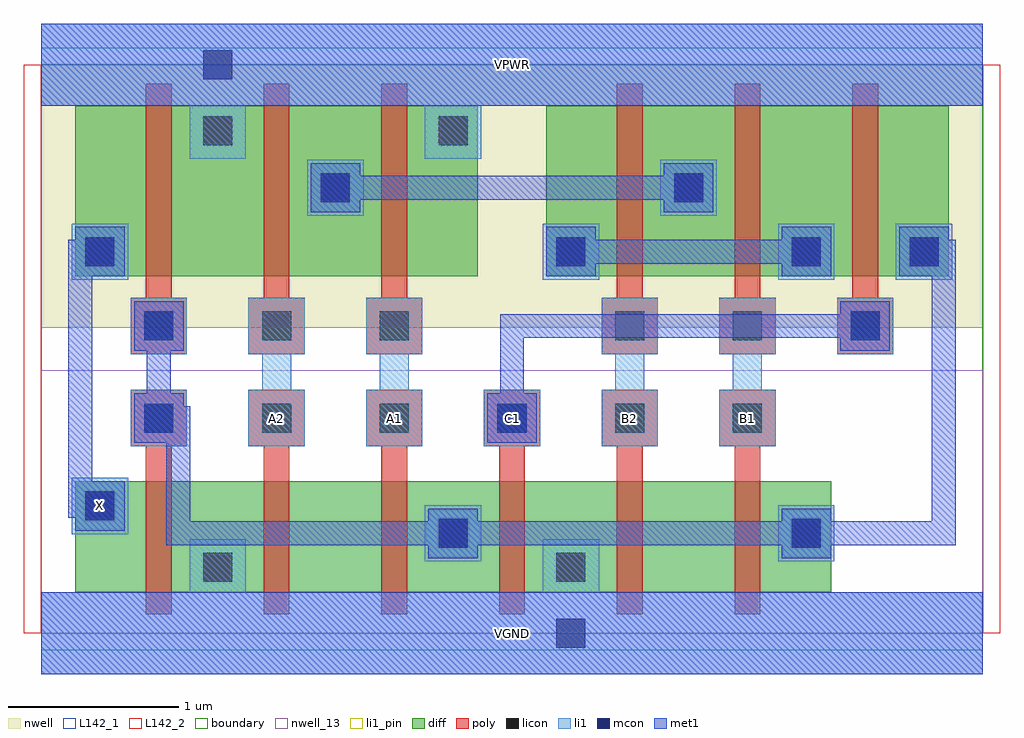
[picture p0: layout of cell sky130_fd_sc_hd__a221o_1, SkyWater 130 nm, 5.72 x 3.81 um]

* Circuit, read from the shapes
.subckt sky130_fd_sc_hd__a221o_1 A1 A2 B1 B2 C1 VGND VPWR X
XM1 VGND n1 X VSUBS sky130_fd_pr__nfet_01v8 w=0.65 l=0.15
XM2 n2 A2 VGND VSUBS sky130_fd_pr__nfet_01v8 w=0.65 l=0.15
XM3 n1 A1 n2 VSUBS sky130_fd_pr__nfet_01v8 w=0.65 l=0.15
XM4 VGND C1 n1 VSUBS sky130_fd_pr__nfet_01v8 w=0.65 l=0.15
XM5 n3 B2 VGND VSUBS sky130_fd_pr__nfet_01v8 w=0.65 l=0.15
XM6 n1 B1 n3 VSUBS sky130_fd_pr__nfet_01v8 w=0.65 l=0.15
XM7 VPWR n1 X n4 sky130_fd_pr__pfet_01v8 w=1 l=0.15
XM8 n5 A2 VPWR n4 sky130_fd_pr__pfet_01v8 w=1 l=0.15
XM9 VPWR A1 n5 n4 sky130_fd_pr__pfet_01v8 w=1 l=0.15
XM10 n5 B2 n6 n4 sky130_fd_pr__pfet_01v8 w=1 l=0.15
XM11 n6 B1 n5 n4 sky130_fd_pr__pfet_01v8 w=1 l=0.15
XM12 n1 C1 n6 n4 sky130_fd_pr__pfet_01v8 w=1 l=0.15
.ends

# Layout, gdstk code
import gdstk
lib = gdstk.Library(unit=1e-6, precision=1e-09)
def R(c, l, rs):  # rectangles x0, y0, x1, y1
    for r in rs: c.add(gdstk.rectangle(r[:2], r[2:], *l))
def A(c, l, x, y, w, h, nx, ny, dx, dy):  # array of equal rectangles
    R(c, l, [(x+i*dx, y+j*dy, x+i*dx+w, y+j*dy+h) for i in range(nx) for j in range(ny)])
def P(c, l, *ps):  # polygons
    for p in ps: c.add(gdstk.Polygon(p, *l))
nwell_13 = (64, 13)
nwell = (64, 20)
diff = (65, 20)
poly = (66, 20)
licon = (66, 44)
li1_pin = (67, 16)
li1 = (67, 20)
mcon = (67, 44)
met1 = (68, 20)
L142_1 = (142, 1)
L142_2 = (142, 2)
boundary = (235, 4)

sky130_fd_sc_hd__a221o_1 = lib.new_cell('sky130_fd_sc_hd__a221o_1')
R(sky130_fd_sc_hd__a221o_1, nwell_13, [(0,0,5.52,1.54)])
R(sky130_fd_sc_hd__a221o_1, nwell, [(0,1.79,5.52,3.33)])
A(sky130_fd_sc_hd__a221o_1, diff, 0.615, 0.24, 0.69, 0.65, 5, 1, 0.69, 0)
R(sky130_fd_sc_hd__a221o_1, diff, [(0.2,0.24,4.63,0.89), (0.2,0.24,0.615,0.89), (4.065,0.24,4.63,0.89), (0.2,2.09,2.56,3.09), (0.2,2.09,0.615,3.09), (0.615,2.09,1.305,3.09), (1.305,2.09,1.995,3.09), (1.995,2.09,2.56,3.09), (2.96,2.09,5.32,3.09), (2.96,2.09,3.375,3.09), (3.375,2.09,4.065,3.09), (4.065,2.09,4.755,3.09), (4.755,2.09,5.32,3.09)])
P(sky130_fd_sc_hd__a221o_1, poly, [(3.375,0.11),(3.375,1.095),(3.285,1.095),(3.285,1.425),(3.615,1.425),(3.615,1.095),(3.525,1.095),(3.525,0.11)],
  [(3.285,1.635),(3.285,1.965),(3.375,1.965),(3.375,3.22),(3.525,3.22),(3.525,1.965),(3.615,1.965),(3.615,1.635)],
  [(0.615,0.11),(0.615,1.095),(0.525,1.095),(0.525,1.425),(0.855,1.425),(0.855,1.095),(0.765,1.095),(0.765,0.11)],
  [(0.525,1.635),(0.525,1.965),(0.615,1.965),(0.615,3.22),(0.765,3.22),(0.765,1.965),(0.855,1.965),(0.855,1.635)],
  [(1.305,0.11),(1.305,1.095),(1.215,1.095),(1.215,1.425),(1.545,1.425),(1.545,1.095),(1.455,1.095),(1.455,0.11)],
  [(1.215,1.635),(1.215,1.965),(1.305,1.965),(1.305,3.22),(1.455,3.22),(1.455,1.965),(1.545,1.965),(1.545,1.635)],
  [(1.995,0.11),(1.995,1.095),(1.905,1.095),(1.905,1.425),(2.235,1.425),(2.235,1.095),(2.145,1.095),(2.145,0.11)],
  [(1.905,1.635),(1.905,1.965),(1.995,1.965),(1.995,3.22),(2.145,3.22),(2.145,1.965),(2.235,1.965),(2.235,1.635)],
  [(2.685,0.11),(2.685,1.095),(2.595,1.095),(2.595,1.425),(2.925,1.425),(2.925,1.095),(2.835,1.095),(2.835,0.11)],
  [(4.665,1.635),(4.665,1.965),(4.755,1.965),(4.755,3.22),(4.905,3.22),(4.905,1.965),(4.995,1.965),(4.995,1.635)],
  [(4.065,0.11),(4.065,1.095),(3.975,1.095),(3.975,1.425),(4.305,1.425),(4.305,1.095),(4.215,1.095),(4.215,0.11)],
  [(3.975,1.635),(3.975,1.965),(4.065,1.965),(4.065,3.22),(4.215,3.22),(4.215,1.965),(4.305,1.965),(4.305,1.635)])
A(sky130_fd_sc_hd__a221o_1, licon, 0.605, 1.175, 0.17, 0.17, 6, 1, 0.69, 0)
A(sky130_fd_sc_hd__a221o_1, licon, 0.605, 1.715, 0.17, 0.17, 3, 1, 0.69, 0)
A(sky130_fd_sc_hd__a221o_1, licon, 3.365, 1.715, 0.17, 0.17, 3, 1, 0.69, 0)
R(sky130_fd_sc_hd__a221o_1, licon, [(0.95,0.3,1.12,0.47), (3.02,0.3,3.19,0.47), (2.33,0.5,2.5,0.67), (4.4,0.5,4.57,0.67), (0.26,0.66,0.43,0.83), (0.26,2.15,0.43,2.32), (3.02,2.15,3.19,2.32), (4.4,2.15,4.57,2.32), (5.09,2.15,5.26,2.32), (1.64,2.525,1.81,2.695), (3.71,2.525,3.88,2.695), (0.95,2.86,1.12,3.03), (2.33,2.86,2.5,3.03)])
R(sky130_fd_sc_hd__a221o_1, li1_pin, [(0,-0.24,5.52,0.24), (0.18,0.58,0.51,0.91), (2.595,1.095,2.925,1.425), (0,3.09,5.52,3.57)])
P(sky130_fd_sc_hd__a221o_1, li1_pin, [(3.285,1.095),(3.285,1.425),(3.365,1.425),(3.365,1.635),(3.285,1.635),(3.285,1.965),(3.615,1.965),(3.615,1.635),(3.535,1.635),(3.535,1.425),(3.615,1.425),(3.615,1.095)],
  [(3.975,1.095),(3.975,1.425),(4.055,1.425),(4.055,1.635),(3.975,1.635),(3.975,1.965),(4.305,1.965),(4.305,1.635),(4.225,1.635),(4.225,1.425),(4.305,1.425),(4.305,1.095)],
  [(1.905,1.095),(1.905,1.425),(1.985,1.425),(1.985,1.635),(1.905,1.635),(1.905,1.965),(2.235,1.965),(2.235,1.635),(2.155,1.635),(2.155,1.425),(2.235,1.425),(2.235,1.095)],
  [(1.215,1.095),(1.215,1.425),(1.295,1.425),(1.295,1.635),(1.215,1.635),(1.215,1.965),(1.545,1.965),(1.545,1.635),(1.465,1.635),(1.465,1.425),(1.545,1.425),(1.545,1.095)])
R(sky130_fd_sc_hd__a221o_1, li1, [(2.25,0.42,2.58,0.75), (4.32,0.42,4.65,0.75), (0.18,0.58,0.51,0.91), (0.525,1.095,0.855,1.425), (2.595,1.095,2.925,1.425), (0.525,1.635,0.855,1.965), (4.665,1.635,4.995,1.965), (0.18,2.07,0.51,2.4), (2.94,2.07,3.27,2.4), (4.32,2.07,4.65,2.4), (5.01,2.07,5.34,2.4), (1.56,2.445,1.89,2.775), (3.63,2.445,3.96,2.775)])
P(sky130_fd_sc_hd__a221o_1, li1, [(3.285,1.095),(3.285,1.425),(3.365,1.425),(3.365,1.635),(3.285,1.635),(3.285,1.965),(3.615,1.965),(3.615,1.635),(3.535,1.635),(3.535,1.425),(3.615,1.425),(3.615,1.095)],
  [(1.215,1.095),(1.215,1.425),(1.295,1.425),(1.295,1.635),(1.215,1.635),(1.215,1.965),(1.545,1.965),(1.545,1.635),(1.465,1.635),(1.465,1.425),(1.545,1.425),(1.545,1.095)],
  [(0.87,2.78),(0.87,3.09),(0,3.09),(0,3.57),(5.52,3.57),(5.52,3.09),(2.58,3.09),(2.58,2.78),(2.25,2.78),(2.25,3.09),(1.2,3.09),(1.2,2.78)],
  [(1.905,1.095),(1.905,1.425),(1.985,1.425),(1.985,1.635),(1.905,1.635),(1.905,1.965),(2.235,1.965),(2.235,1.635),(2.155,1.635),(2.155,1.425),(2.235,1.425),(2.235,1.095)],
  [(0,-0.24),(0,0.24),(0.87,0.24),(0.87,0.55),(1.2,0.55),(1.2,0.24),(2.94,0.24),(2.94,0.55),(3.27,0.55),(3.27,0.24),(5.52,0.24),(5.52,-0.24)],
  [(3.975,1.095),(3.975,1.425),(4.055,1.425),(4.055,1.635),(3.975,1.635),(3.975,1.965),(4.305,1.965),(4.305,1.635),(4.225,1.635),(4.225,1.425),(4.305,1.425),(4.305,1.095)])
R(sky130_fd_sc_hd__a221o_1, mcon, [(3.02,-0.085,3.19,0.085), (2.33,0.5,2.5,0.67), (4.4,0.5,4.57,0.67), (0.26,0.66,0.43,0.83), (0.605,1.175,0.775,1.345), (2.675,1.175,2.845,1.345), (0.605,1.715,0.775,1.885), (4.745,1.715,4.915,1.885), (0.26,2.15,0.43,2.32), (3.02,2.15,3.19,2.32), (4.4,2.15,4.57,2.32), (5.09,2.15,5.26,2.32), (1.64,2.525,1.81,2.695), (3.71,2.525,3.88,2.695), (0.95,3.245,1.12,3.415)])
R(sky130_fd_sc_hd__a221o_1, met1, [(0,-0.24,5.52,0.24), (0,3.09,5.52,3.57)])
P(sky130_fd_sc_hd__a221o_1, met1, [(2.27,0.44),(2.27,0.515),(0.735,0.515),(0.735,1.115),(0.545,1.115),(0.545,1.405),(0.62,1.405),(0.62,1.655),(0.545,1.655),(0.545,1.945),(0.835,1.945),(0.835,1.655),(0.76,1.655),(0.76,1.405),(0.835,1.405),(0.835,1.33),(0.875,1.33),(0.875,0.655),(2.27,0.655),(2.27,0.73),(2.56,0.73),(2.56,0.655),(4.34,0.655),(4.34,0.73),(4.63,0.73),(4.63,0.655),(5.22,0.655),(5.22,2.09),(5.03,2.09),(5.03,2.38),(5.32,2.38),(5.32,2.305),(5.36,2.305),(5.36,0.515),(4.63,0.515),(4.63,0.44),(4.34,0.44),(4.34,0.515),(2.56,0.515),(2.56,0.44)],
  [(2.96,2.09),(2.96,2.38),(3.25,2.38),(3.25,2.305),(4.34,2.305),(4.34,2.38),(4.63,2.38),(4.63,2.09),(4.34,2.09),(4.34,2.165),(3.25,2.165),(3.25,2.09)],
  [(1.58,2.465),(1.58,2.755),(1.87,2.755),(1.87,2.68),(3.65,2.68),(3.65,2.755),(3.94,2.755),(3.94,2.465),(3.65,2.465),(3.65,2.54),(1.87,2.54),(1.87,2.465)],
  [(2.615,1.115),(2.615,1.405),(2.69,1.405),(2.69,1.87),(4.685,1.87),(4.685,1.945),(4.975,1.945),(4.975,1.655),(4.685,1.655),(4.685,1.73),(2.83,1.73),(2.83,1.405),(2.905,1.405),(2.905,1.115)],
  [(0.2,0.6),(0.2,0.675),(0.16,0.675),(0.16,2.305),(0.2,2.305),(0.2,2.38),(0.49,2.38),(0.49,2.09),(0.3,2.09),(0.3,0.89),(0.49,0.89),(0.49,0.6)])
R(sky130_fd_sc_hd__a221o_1, L142_1, [(0,-0.1,5.52,0), (0,3.33,5.52,3.43)])
R(sky130_fd_sc_hd__a221o_1, L142_2, [(-0.1,0,0,3.33), (5.52,0,5.62,3.33)])
R(sky130_fd_sc_hd__a221o_1, boundary, [(0,0,5.52,3.33)])
sky130_fd_sc_hd__a221o_1.add(gdstk.Label('X', (0.345,0.745), layer=67, texttype=5))
sky130_fd_sc_hd__a221o_1.add(gdstk.Label('C1', (2.76,1.26), layer=67, texttype=5))
sky130_fd_sc_hd__a221o_1.add(gdstk.Label('B2', (3.45,1.26), layer=67, texttype=5))
sky130_fd_sc_hd__a221o_1.add(gdstk.Label('B1', (4.14,1.26), layer=67, texttype=5))
sky130_fd_sc_hd__a221o_1.add(gdstk.Label('A1', (2.07,1.26), layer=67, texttype=5))
sky130_fd_sc_hd__a221o_1.add(gdstk.Label('A2', (1.38,1.26), layer=67, texttype=5))
sky130_fd_sc_hd__a221o_1.add(gdstk.Label('VGND', (2.76,0), layer=67, texttype=5))
sky130_fd_sc_hd__a221o_1.add(gdstk.Label('VPWR', (2.76,3.33), layer=67, texttype=5))
sky130_fd_sc_hd__a221o_1.add(gdstk.Label('VGND', (2.76,0), layer=68, texttype=5))
sky130_fd_sc_hd__a221o_1.add(gdstk.Label('VPWR', (2.76,3.33), layer=68, texttype=5))

lib.write_gds('sky130_fd_sc_hd__a221o_1.gds')
